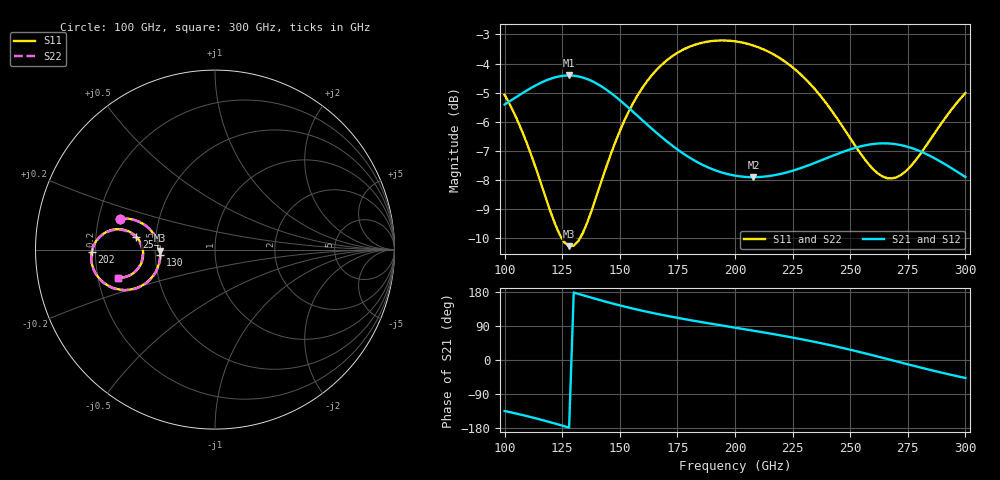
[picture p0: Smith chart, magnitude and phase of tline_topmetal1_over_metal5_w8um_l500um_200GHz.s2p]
#  GHZ S DB R 50
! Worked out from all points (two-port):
!   101 points, 100 GHz to 300 GHz, reference 50 ohm
!   highest |S21| = -4.41 dB at 128 GHz (marker M1); lowest = -7.9 dB at 208 GHz (marker M2)
!   |S21| within 3 dB of the highest: start of sweep to 184.2 GHz; 234.7 GHz to 290.1 GHz (55.39 GHz wide, 21.1 % of centre)
!   lowest |S11| = -10.3 dB at 128 GHz (marker M3), VSWR 1.88, Z = 26.5 - j0.398 ohm
!   |S11| at or under -10 dB: 124.9 GHz to 132.7 GHz (7.792 GHz wide, 6.05 % of centre)
!   |S22| runs from -10.3 to -3.2 dB; largest |S21 - S12| = 4.8e-14
!   S11 on the Smith chart (normalised r, x): 100 GHz: 0.29, +0.15; 130 GHz: 0.53, -0.04; 202 GHz: 0.19, -0.01; 254 GHz: 0.39, +0.07; 300 GHz: 0.29, -0.13
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100  -5.07 162.0  -5.41 -134.6  -5.41 -134.6  -5.08 162.0
108  -6.40 159.8  -5.00 -145.6  -5.00 -145.6  -6.41 159.8
114  -7.69 160.8  -4.73 -154.7  -4.73 -154.7  -7.71 160.8
122  -9.53 168.9  -4.47 -167.9  -4.47 -167.9  -9.55 168.9
128  -10.27 -178.7  -4.41 -178.4  -4.41 -178.4  -10.30 -178.6
130  -10.25 -174.1  -4.42 178.0  -4.42 178.0  -10.28 -173.9
134  -9.81 -165.5  -4.48 170.9  -4.48 170.9  -9.83 -165.3
142  -8.05 -155.5  -4.78 157.0  -4.78 157.0  -8.06 -155.3
150  -6.32 -153.9  -5.26 144.1  -5.26 144.1  -6.32 -153.7
158  -5.06 -156.3  -5.82 132.4  -5.82 132.4  -5.06 -156.1
168  -4.05 -161.3  -6.52 119.5  -6.52 119.5  -4.05 -161.1
184  -3.32 -169.9  -7.40 101.6  -7.40 101.6  -3.32 -169.7
200  -3.24 -177.9  -7.85 85.4  -7.85 85.4  -3.23 -177.7
202  -3.26 -178.8  -7.87 83.4  -7.87 83.4  -3.25 -178.6
208  -3.38 178.4  -7.90 77.3  -7.90 77.3  -3.37 178.6
222  -3.95 172.5  -7.75 62.5  -7.75 62.5  -3.94 172.8
234  -4.82 168.8  -7.43 48.5  -7.43 48.5  -4.80 169.1
244  -5.85 167.8  -7.12 35.5  -7.12 35.5  -5.82 168.1
254  -7.04 170.7  -6.86 21.3  -6.86 21.3  -6.99 171.0
268  -7.95 -177.0  -6.75 -0.3  -6.75 -0.3  -7.88 -176.8
284  -6.70 -164.5  -7.15 -25.1  -7.15 -25.1  -6.65 -164.5
300  -5.01 -163.8  -7.90 -47.5  -7.90 -47.5  -4.99 -163.9
